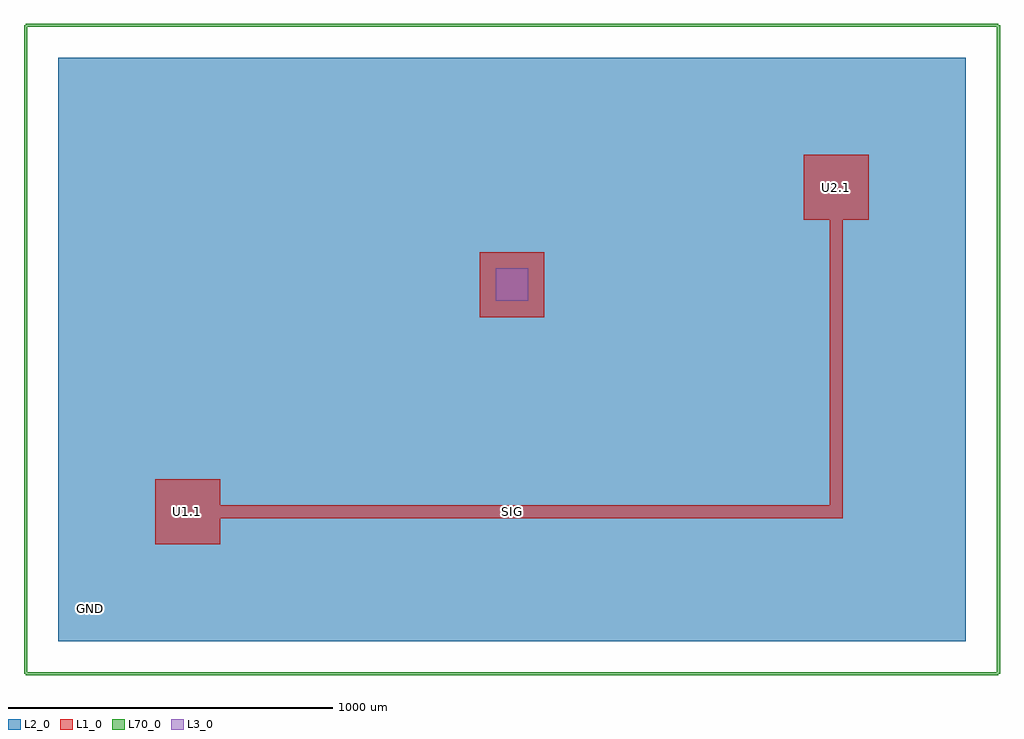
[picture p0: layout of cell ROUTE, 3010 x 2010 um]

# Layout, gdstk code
import gdstk
lib = gdstk.Library(unit=1e-6, precision=1e-09)
def R(c, l, rs):  # rectangles x0, y0, x1, y1
    for r in rs: c.add(gdstk.rectangle(r[:2], r[2:], *l))
L1_0 = (1, 0)
L2_0 = (2, 0)
L3_0 = (3, 0)
L70_0 = (70, 0)

pad = lib.new_cell('PAD')
R(pad, L1_0, [(-100,-100,100,100)])

route = lib.new_cell('ROUTE')
R(route, L1_0, [(500,480,2520,520), (2480,480,2520,1500), (1400,1100,1600,1300)])
R(route, L2_0, [(100,100,2900,1900)])
R(route, L3_0, [(1450,1150,1550,1250)])
route.add(gdstk.FlexPath([(0,0),(3000,0)], 10, ends="flush", simple_path=True, layer=70, datatype=0))  # L70_0
route.add(gdstk.FlexPath([(3000,0),(3000,2000)], 10, ends="flush", simple_path=True, layer=70, datatype=0))  # L70_0
route.add(gdstk.FlexPath([(3000,2000),(0,2000)], 10, ends="flush", simple_path=True, layer=70, datatype=0))  # L70_0
route.add(gdstk.FlexPath([(0,2000),(0,0)], 10, ends="flush", simple_path=True, layer=70, datatype=0))  # L70_0
route.add(gdstk.Reference(pad, (500,500)))
route.add(gdstk.Reference(pad, (2500,1500)))
route.add(gdstk.Label('SIG', (1500,500), layer=1, texttype=1))
route.add(gdstk.Label('U1.1', (500,500), layer=1, texttype=1))
route.add(gdstk.Label('U2.1', (2500,1500), layer=1, texttype=1))
route.add(gdstk.Label('GND', (200,200), layer=2, texttype=1))

lib.write_gds('ROUTE.gds')
